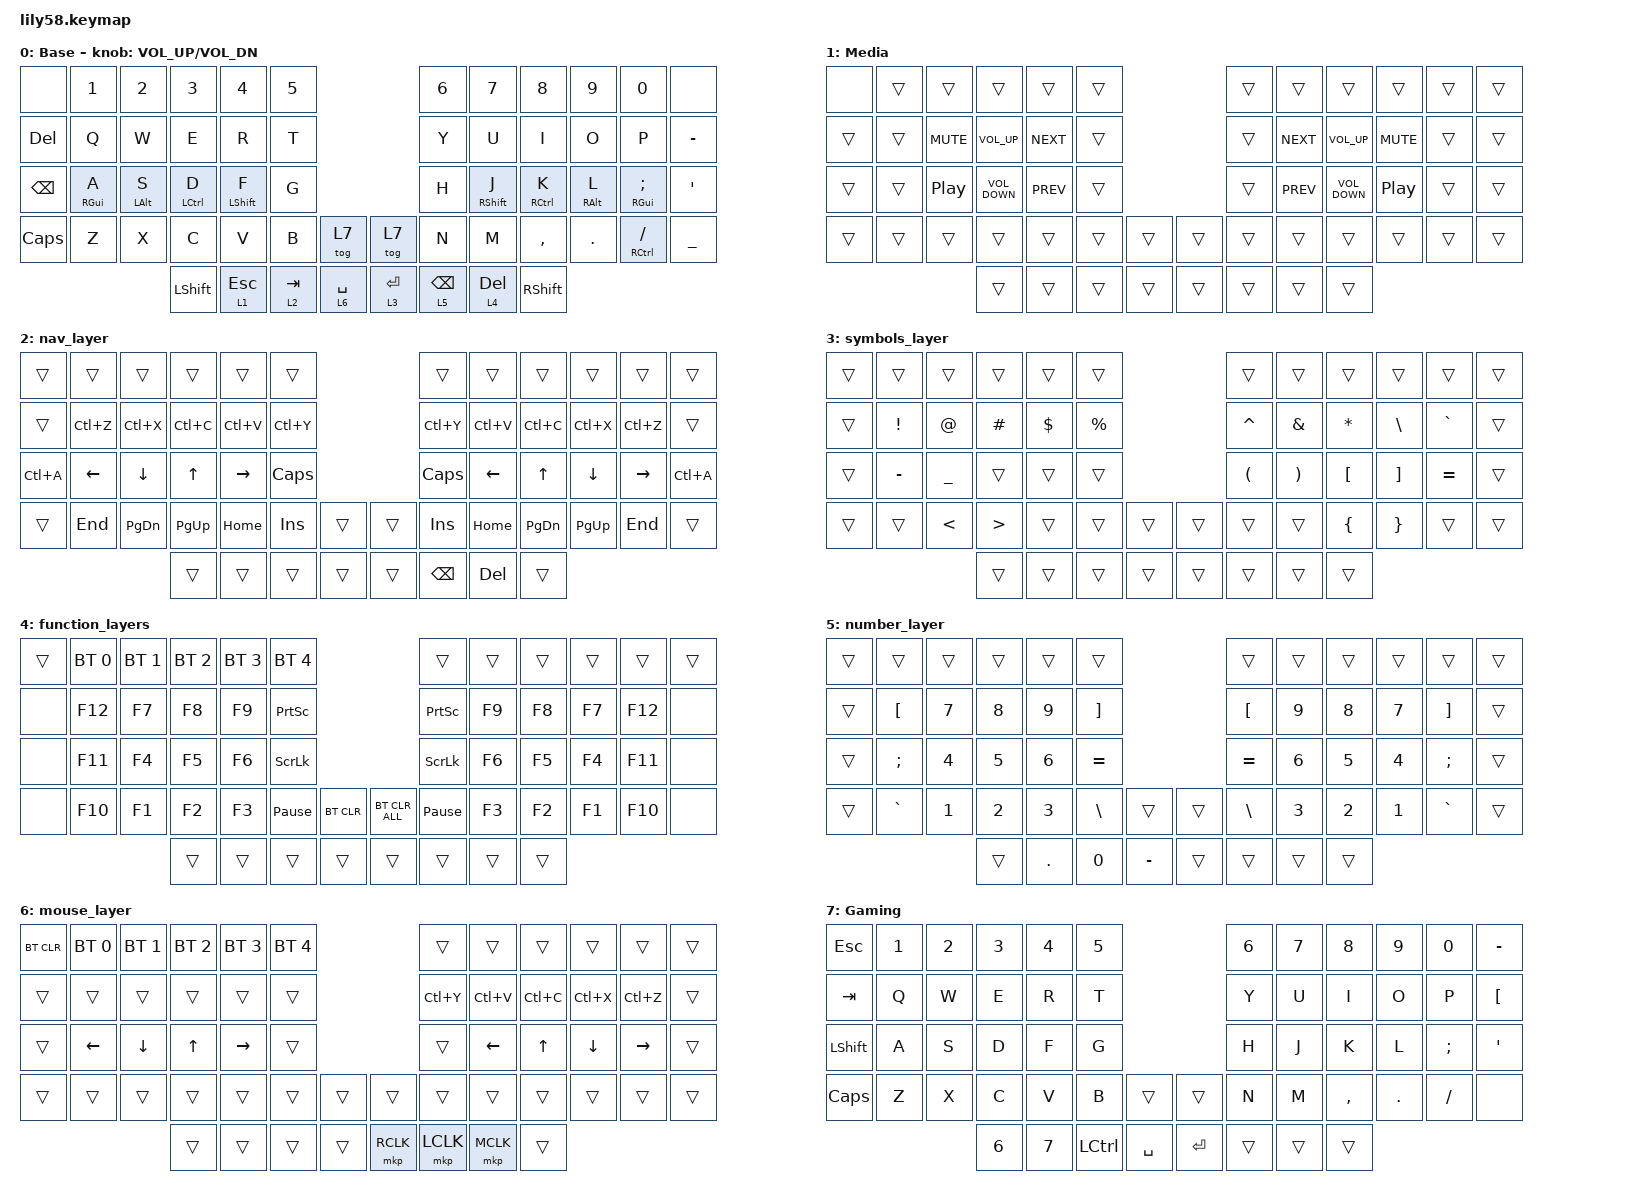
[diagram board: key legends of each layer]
/*
 * Copyright (c) 2020 The ZMK Contributors
 *
 * SPDX-License-Identifier: MIT
 */

#include <dt-bindings/zmk/mouse.h>
#include <behaviors.dtsi>
#include <dt-bindings/zmk/bt.h>
#include <dt-bindings/zmk/keys.h>
#include <dt-bindings/zmk/pointing.h>

/ {
    macros {
        cursorWordPartRight: cursorWordPartRight {
            compatible = "zmk,behavior-macro";
            #binding-cells = <0>;
            bindings = <&kp LEFT_SHIFT &kp LEFT_ALT &kp Q>;
            label = "CURSORWORDPARTRIGHT";
        };

        cursorWordPartLeft: cursorWordPartLeft {
            compatible = "zmk,behavior-macro";
            #binding-cells = <0>;
            bindings = <&none>;
            label = "CURSORWORDPARTLEFT";
        };
    };

    behaviors {
        ht: hold_tap {
            compatible = "zmk,behavior-hold-tap";
            label = "Hold/Tap";
            bindings = <&kp>, <&kp>;

            #binding-cells = <2>;
            tapping-term-ms = <200>;
            require-prior-idle-ms = <175>;
            flavor = "tap-preferred";
        };
    };

    combos {
        compatible = "zmk,combos";

        caps_word {
            bindings = <&caps_word>;
            key-positions = <31 28>;
        };
    };

    keymap {
        compatible = "zmk,keymap";

        default_layer {
            // ------------------------------------------------------------------------------------------------------------
            // |  ESC  |  1  |  2  |  3   |  4   |  5   |                   |  6   |  7    |  8    |  9   |   0   |   `   |
            // |  TAB  |  Q  |  W  |  E   |  R   |  T   |                   |  Y   |  U    |  I    |  O   |   P   |   -   |
            // |  CTRL |  A  |  S  |  D   |  F   |  G   |                   |  H   |  J    |  K    |  L   |   ;   |   '   |
            // | SHIFT |  Z  |  X  |  C   |  V   |  B   |   "["  |  |  "]"  |  N   |  M    |  ,    |  .   |   /   | SHIFT |
            //                     | ALT  | GUI  | LOWER|  SPACE |  | ENTER | RAISE| BSPC  | GUI   |

            display-name = "Base";
            bindings = <
&none          &kp N1           &kp N2          &kp N3              &kp N4            &kp N5                                 &kp N6           &kp N7             &kp N8               &kp N9           &kp N0                   &none
&kp DELETE     &kp Q            &kp W           &kp E               &kp R             &kp T                                  &kp Y            &kp U              &kp I                &kp O            &kp P                    &kp MINUS
&kp BACKSPACE  &ht RIGHT_GUI A  &ht LEFT_ALT S  &ht LEFT_CONTROL D  &ht LEFT_SHIFT F  &kp G                                  &kp H            &ht RIGHT_SHIFT J  &ht RIGHT_CONTROL K  &ht RIGHT_ALT L  &ht RIGHT_GUI SEMICOLON  &kp SINGLE_QUOTE
&kp CAPS       &kp Z            &kp X           &kp C               &kp V             &kp B      &tog 7         &tog 7       &kp N            &kp M              &kp COMMA            &kp DOT          &ht RIGHT_CONTROL SLASH  &kp UNDERSCORE
                                                &kp LEFT_SHIFT      &lt 1 ESCAPE      &lt 2 TAB  &lt 6 SPACE    &lt 3 ENTER  &lt 5 BACKSPACE  &lt 4 DELETE       &kp RIGHT_SHIFT
            >;

            sensor-bindings = <&inc_dec_kp C_VOL_UP C_VOL_DN>;
        };

        media_layer {
            bindings = <
&none   &trans  &trans            &trans             &trans      &trans                    &trans  &trans      &trans             &trans      &trans  &trans
&trans  &trans  &kp C_MUTE        &kp C_VOLUME_UP    &kp C_NEXT  &trans                    &trans  &kp C_NEXT  &kp C_VOLUME_UP    &kp C_MUTE  &trans  &trans
&trans  &trans  &kp C_PLAY_PAUSE  &kp C_VOLUME_DOWN  &kp C_PREV  &trans                    &trans  &kp C_PREV  &kp C_VOLUME_DOWN  &kp C_PP    &trans  &trans
&trans  &trans  &trans            &trans             &trans      &trans  &trans    &trans  &trans  &trans      &trans             &trans      &trans  &trans
                                  &trans             &trans      &trans  &trans    &trans  &trans  &trans      &trans
            >;

            label = "Media";
        };

        nav_layer {
            bindings = <
&trans     &trans          &trans          &trans        &trans           &trans                        &trans         &trans      &trans     &trans     &trans     &trans
&trans     &kp LC(Z)       &kp LC(X)       &kp LC(C)     &kp LC(V)        &kp LC(Y)                     &kp LC(Y)      &kp LC(V)   &kp LC(C)  &kp LC(X)  &kp LC(Z)  &trans
&kp LC(A)  &kp LEFT_ARROW  &kp DOWN_ARROW  &kp UP_ARROW  &kp RIGHT_ARROW  &kp CAPS                      &kp CAPS       &kp LEFT    &kp UP     &kp DOWN   &kp RIGHT  &kp LC(A)
&trans     &kp END         &kp PG_DN       &kp PG_UP     &kp HOME         &kp INSERT  &trans    &trans  &kp INSERT     &kp HOME    &kp PG_DN  &kp PG_UP  &kp END    &trans
                                           &trans        &trans           &trans      &trans    &trans  &kp BACKSPACE  &kp DELETE  &trans
            >;
        };

        symbols_layer {
            bindings = <
&trans  &trans           &trans          &trans            &trans      &trans                         &trans                &trans                 &trans            &trans             &trans     &trans
&trans  &kp EXCLAMATION  &kp AT_SIGN     &kp HASH          &kp DOLLAR  &kp PERCENT                    &kp CARET             &kp AMPERSAND          &kp ASTERISK      &kp BACKSLASH      &kp GRAVE  &trans
&trans  &kp MINUS        &kp UNDERSCORE  &trans            &trans      &trans                         &kp LEFT_PARENTHESIS  &kp RIGHT_PARENTHESIS  &kp LEFT_BRACKET  &kp RIGHT_BRACKET  &kp EQUAL  &trans
&trans  &trans           &kp LESS_THAN   &kp GREATER_THAN  &trans      &trans       &trans    &trans  &trans                &trans                 &kp LEFT_BRACE    &kp RIGHT_BRACE    &trans     &trans
                                         &trans            &trans      &trans       &trans    &trans  &trans                &trans                 &trans
            >;
        };

        function_layers {
            bindings = <
&trans  &bt BT_SEL 0  &bt BT_SEL 1  &bt BT_SEL 2  &bt BT_SEL 3  &bt BT_SEL 4                                   &trans           &trans  &trans  &trans  &trans   &trans
&none   &kp F12       &kp F7        &kp F8        &kp F9        &kp PRINTSCREEN                                &kp PRINTSCREEN  &kp F9  &kp F8  &kp F7  &kp F12  &none
&none   &kp F11       &kp F4        &kp F5        &kp F6        &kp SCROLLLOCK                                 &kp SCROLLLOCK   &kp F6  &kp F5  &kp F4  &kp F11  &none
&none   &kp F10       &kp F1        &kp F2        &kp F3        &kp PAUSE_BREAK  &bt BT_CLR    &bt BT_CLR_ALL  &kp PAUSE_BREAK  &kp F3  &kp F2  &kp F1  &kp F10  &none
                                    &trans        &trans        &trans           &trans        &trans          &trans           &trans  &trans
            >;
        };

        number_layer {
            bindings = <
&trans  &trans     &trans  &trans  &trans      &trans                             &trans     &trans  &trans  &trans  &trans     &trans
&trans  &kp LBKT   &kp N7  &kp N8  &kp N9      &kp RBKT                           &kp LBKT   &kp N9  &kp N8  &kp N7  &kp RBKT   &trans
&trans  &kp SEMI   &kp N4  &kp N5  &kp N6      &kp EQUAL                          &kp EQUAL  &kp N6  &kp N5  &kp N4  &kp SEMI   &trans
&trans  &kp GRAVE  &kp N1  &kp N2  &kp N3      &kp BSLH      &trans       &trans  &kp BSLH   &kp N3  &kp N2  &kp N1  &kp GRAVE  &trans
                           &trans  &kp PERIOD  &kp NUMBER_0  &kp MINUS    &trans  &trans     &trans  &trans
            >;
        };

        mouse_layer {
            bindings = <
&bt BT_CLR  &bt BT_SEL 0    &bt BT_SEL 1    &bt BT_SEL 2  &bt BT_SEL 3     &bt BT_SEL 4                       &trans     &trans     &trans     &trans     &trans     &trans
&trans      &trans          &trans          &trans        &trans           &trans                             &kp LC(Y)  &kp LC(V)  &kp LC(C)  &kp LC(X)  &kp LC(Z)  &trans
&trans      &kp LEFT_ARROW  &kp DOWN_ARROW  &kp UP_ARROW  &kp RIGHT_ARROW  &trans                             &trans     &kp LEFT   &kp UP     &kp DOWN   &kp RIGHT  &trans
&trans      &trans          &trans          &trans        &trans           &trans        &trans    &trans     &trans     &trans     &trans     &trans     &trans     &trans
                                            &trans        &trans           &trans        &trans    &mkp RCLK  &mkp LCLK  &mkp MCLK  &trans
            >;
        };

        gaming_layer {
            bindings = <
&kp ESC    &kp N1  &kp N2  &kp N3        &kp N4  &kp N5                             &kp N6  &kp N7  &kp N8     &kp N9   &kp N0    &kp MINUS
&kp TAB    &kp Q   &kp W   &kp E         &kp R   &kp T                              &kp Y   &kp U   &kp I      &kp O    &kp P     &kp LBKT
&kp LSHFT  &kp A   &kp S   &kp D         &kp F   &kp G                              &kp H   &kp J   &kp K      &kp L    &kp SEMI  &kp APOS
&kp CAPS   &kp Z   &kp X   &kp C         &kp V   &kp B      &trans       &trans     &kp N   &kp M   &kp COMMA  &kp DOT  &kp FSLH  &none
                           &kp NUMBER_6  &kp N7  &kp LCTRL  &kp SPACE    &kp ENTER  &trans  &trans  &trans
            >;

            label = "Gaming";
        };
    };

    conditional_layers { compatible = "zmk,conditional-layers"; };
};
